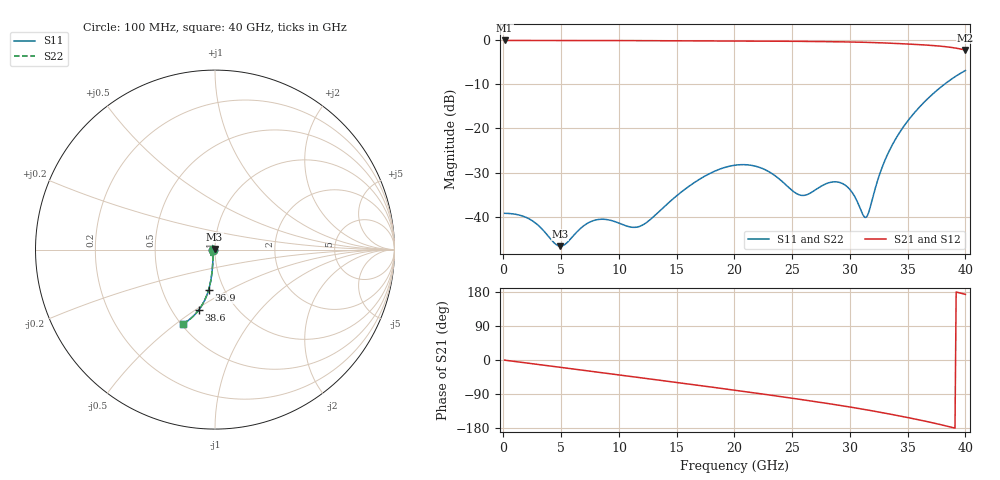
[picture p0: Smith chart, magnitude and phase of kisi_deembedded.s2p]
! A_s4_d300_ap1000: kisi-fdtd, de-embedded with the 2×thru
# Hz S RI R 50
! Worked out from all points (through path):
!   400 points, 100 MHz to 40 GHz, reference 50 ohm
!   highest |S21| = -0.10 dB at 100 MHz (marker M1); lowest = -2.3 dB at 40 GHz (marker M2)
!   group delay of S21, straight-line fit = 12.3 ps
!   lowest |S11| = -46.7 dB at 4.9 GHz (marker M3), VSWR 1.01, Z = 49.8 + j0.402 ohm
!   |S11| at or under -10 dB: start of sweep to 38.2 GHz
!   |S22| runs from -46.7 to -6.9 dB; largest |S21 - S12| = 2.2e-07
!   S11 on the Smith chart (normalised r, x): 100 MHz: 0.98, -0.00; 36.9 GHz: 0.85, -0.40; 38.6 GHz: 0.68, -0.52; 40 GHz: 0.51, -0.53
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1e8  -0.0109 -5.04e-05  0.9884 -0.00686  0.9884 -0.00686  -0.0109 -5.04e-05
2.4e9  -0.00916 0.000113  0.9737 -0.1628  0.9737 -0.1628  -0.00916 0.000113
4.9e9  -0.00227 0.00404  0.9309 -0.325  0.9309 -0.325  -0.00227 0.00404
6.8e9  0.00331 0.00685  0.8812 -0.4431  0.8812 -0.4431  0.00331 0.00685
8.5e9  0.00467 0.00811  0.8232 -0.5435  0.8232 -0.5435  0.00467 0.00811
1.16e10  -0.0035 0.00679  0.6865 -0.7049  0.6865 -0.7049  -0.0035 0.00679
1.34e10  -0.011 0.00231  0.5924 -0.7831  0.5924 -0.7831  -0.011 0.00231
1.7e10  -0.0207 -0.0168  0.3771 -0.9032  0.3771 -0.9032  -0.0207 -0.0168
2.01e10  -0.0215 -0.0317  0.1688 -0.9607  0.1688 -0.9607  -0.0215 -0.0317
2.26e10  -0.0202 -0.0277  -0.00831 -0.9724  -0.00831 -0.9724  -0.0202 -0.0277
2.56e10  -0.0176 -0.00119  -0.2259 -0.9393  -0.2259 -0.9393  -0.0176 -0.00119
2.67e10  -0.0162 0.00983  -0.3047 -0.9134  -0.3047 -0.9134  -0.0162 0.00983
2.82e10  -0.0138 0.02  -0.41 -0.8657  -0.41 -0.8657  -0.0138 0.02
2.93e10  -0.012 0.0207  -0.4853 -0.8208  -0.4853 -0.8208  -0.012 0.0207
3.02e10  -0.0107 0.0154  -0.5451 -0.777  -0.5451 -0.777  -0.0107 0.0154
3.14e10  -0.00976 -0.00113  -0.6209 -0.7074  -0.6209 -0.7074  -0.00976 -0.00113
3.26e10  -0.0101 -0.0292  -0.6895 -0.6248  -0.6895 -0.6248  -0.0101 -0.0292
3.34e10  -0.0112 -0.0543  -0.7297 -0.5629  -0.7297 -0.5629  -0.0112 -0.0543
3.49e10  -0.0156 -0.115  -0.7909 -0.4345  -0.7909 -0.4345  -0.0156 -0.115
3.69e10  -0.0355 -0.2241  -0.8375 -0.2411  -0.8375 -0.2411  -0.0355 -0.2241
3.86e10  -0.0889 -0.3344  -0.8284 -0.0577  -0.8284 -0.0577  -0.0889 -0.3344
4e10  -0.1798 -0.4141  -0.7646 0.0913  -0.7646 0.0913  -0.1798 -0.4141
